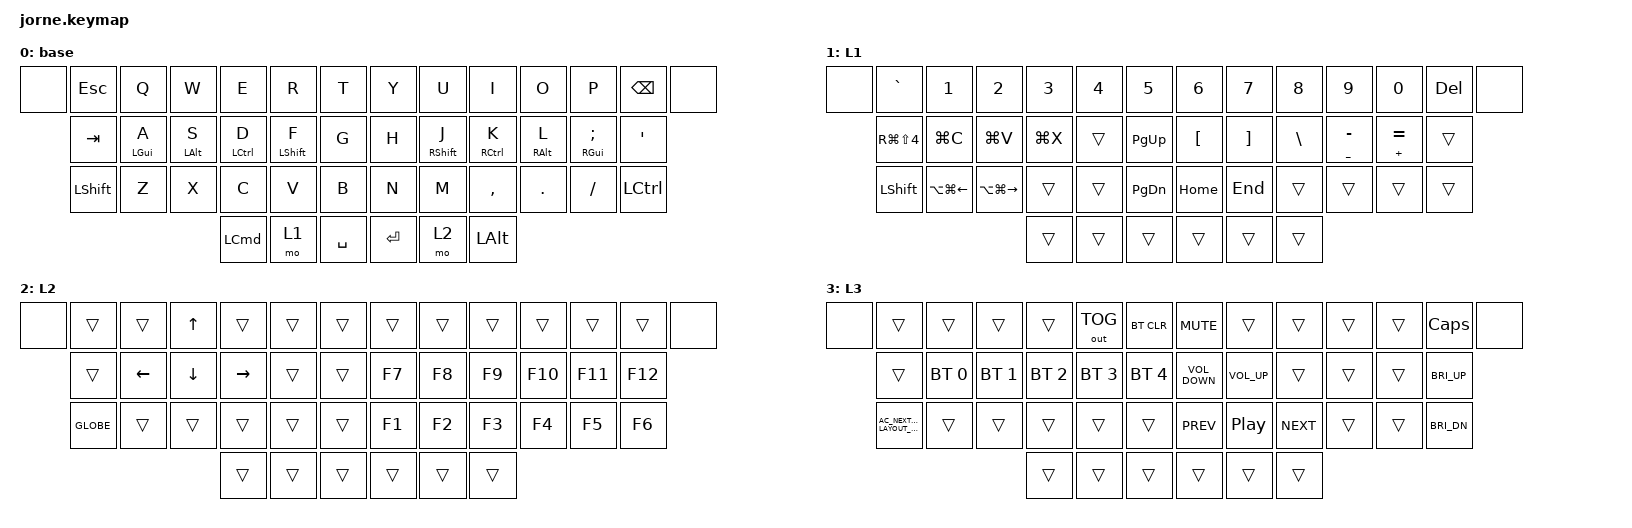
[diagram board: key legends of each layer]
/*
 * Copyright (c) 2020 The ZMK Contributors
 *
 * SPDX-License-Identifier: MIT
 */

#include <behaviors.dtsi>
#include <dt-bindings/zmk/bt.h>
#include <dt-bindings/zmk/keys.h>
#include <dt-bindings/zmk/outputs.h>

/ {
    combos {
        compatible = "zmk,combos";

        combo_game {
            bindings = <&tog 0>;
            key-positions = <38 43>;
            timeout-ms = <200>;
        };

        game_esc {
            bindings = <&kp ESC>;
            key-positions = <2 3>;
        };
    };

    behaviors {
        hml: hml {
            compatible = "zmk,behavior-hold-tap";
            label = "HML";
            bindings = <&kp>, <&kp>;

            #binding-cells = <2>;
            tapping-term-ms = <220>;
            quick-tap-ms = <175>;
            flavor = "balanced";
            require-prior-idle-ms = <100>;
            hold-trigger-key-positions = <7 8 9 10 11 12 13 20 21 22 23 24 25 32 33 34 35 36 37 38 39 40 41 42 43>;
            hold-trigger-on-release;
        };

        hmr: hmr {
            compatible = "zmk,behavior-hold-tap";
            label = "HMR";
            bindings = <&kp>, <&kp>;

            #binding-cells = <2>;
            tapping-term-ms = <220>;
            quick-tap-ms = <175>;
            require-prior-idle-ms = <100>;
            flavor = "balanced";
            hold-trigger-key-positions = <0 1 2 3 4 5 6 14 15 16 17 18 19 26 27 28 29 30 31 38 39 40 41 42 43>;
            hold-trigger-on-release;
        };

        tkl: tkl {
            compatible = "zmk,behavior-hold-tap";
            label = "TKL";
            bindings = <&mo>, <&kp>;

            #binding-cells = <2>;
            tapping-term-ms = <220>;
            quick-tap-ms = <175>;
            flavor = "balanced";
            require-prior-idle-ms = <100>;
            hold-trigger-key-positions = <7 8 9 10 11 12 13 20 21 22 23 24 25 32 33 34 35 36 37 38 39 40 41 42 43>;
            hold-trigger-on-release;
        };

        tkr: tkr {
            compatible = "zmk,behavior-hold-tap";
            label = "TKR";
            bindings = <&mo>, <&kp>;

            #binding-cells = <2>;
            tapping-term-ms = <220>;
            quick-tap-ms = <175>;
            require-prior-idle-ms = <100>;
            flavor = "balanced";
            hold-trigger-key-positions = <0 1 2 3 4 5 6 14 15 16 17 18 19 26 27 28 29 30 31 38 39 40 41 42 43>;
            hold-trigger-on-release;
        };
    };

    keymap {
        compatible = "zmk,keymap";

        base {
            // Jorne: 44 keys (positions 0 and 13 are extra outer keys, not present physically)
            // -----------------------------------------------------------------------------------------
            // | x |  ESC |  Q  |  W  |  E  |  R  |  T  |   |  Y  |  U   |  I  |  O  |  P  | BKSP | x |
            //     | TAB  |  A  |  S  |  D  |  F  |  G  |   |  H  |  J   |  K  |  L  |  '  |  '   |
            //     | SHFT |  Z  |  X  |  C  |  V  |  B  |   |  N  |  M   |  ,  |  .  |  /  | SHFT |
            //                        | GUI | LWR | SPC |   | ENT | RSE  | ALT |

            bindings = <
&none  &kp ESC         &kp Q            &kp W            &kp E                &kp R              &kp T        &kp Y      &kp U               &kp I                 &kp O             &kp P                     &kp BACKSPACE     &none
       &kp TAB         &hml LEFT_GUI A  &hml LEFT_ALT S  &hml LEFT_CONTROL D  &hml LEFT_SHIFT F  &kp G        &kp H      &hmr RIGHT_SHIFT J  &hmr RIGHT_CONTROL K  &hmr RIGHT_ALT L  &hmr RIGHT_GUI SEMICOLON  &kp SINGLE_QUOTE
       &kp LEFT_SHIFT  &kp Z            &kp X            &kp C                &kp V              &kp B        &kp N      &kp M               &kp COMMA             &kp DOT           &kp FSLH                  &kp LEFT_CONTROL
                                                         &kp LEFT_COMMAND     &mo 1              &kp SPACE    &kp ENTER  &mo 2               &kp LEFT_ALT
            >;
        };

        L1 {
            bindings = <
&none  &kp GRAVE       &kp NUMBER_1            &kp NUMBER_2       &kp NUMBER_3  &kp NUMBER_4  &kp N5           &kp NUMBER_6      &kp N7             &kp N8         &kp N9                &kp N0          &kp DEL  &none
       &kp RG(LS(N4))  &kp LG(C)               &kp LG(V)          &kp LG(X)     &trans        &kp PAGE_UP      &kp LEFT_BRACKET  &kp RIGHT_BRACKET  &kp BACKSLASH  &mt UNDERSCORE MINUS  &mt PLUS EQUAL  &trans
       &kp LEFT_SHIFT  &kp LA(LG(LEFT_ARROW))  &kp LA(LG(RIGHT))  &trans        &trans        &kp PAGE_DOWN    &kp HOME          &kp END            &trans         &trans                &trans          &trans
                                                                  &trans        &trans        &trans           &trans            &trans             &trans
            >;
        };

        L2 {
            bindings = <
&none  &trans     &trans          &kp UP_ARROW    &trans           &trans  &trans    &trans  &trans  &trans  &trans   &trans   &trans   &none
       &trans     &kp LEFT_ARROW  &kp DOWN_ARROW  &kp RIGHT_ARROW  &trans  &trans    &kp F7  &kp F8  &kp F9  &kp F10  &kp F11  &kp F12
       &kp GLOBE  &trans          &trans          &trans           &trans  &trans    &kp F1  &kp F2  &kp F3  &kp F4   &kp F5   &kp F6
                                                  &trans           &trans  &trans    &trans  &trans  &trans
            >;
        };

        L3 {
            bindings = <
&none  &trans                                &trans        &trans        &trans        &out OUT_TOG  &bt BT_CLR      &kp K_MUTE         &trans           &trans      &trans  &trans  &kp CAPSLOCK  &none
       &trans                                &bt BT_SEL 0  &bt BT_SEL 1  &bt BT_SEL 2  &bt BT_SEL 3  &bt BT_SEL 4    &kp C_VOLUME_DOWN  &kp C_VOLUME_UP  &trans      &trans  &trans  &kp C_BRI_UP
       &kp C_AC_NEXT_KEYBOARD_LAYOUT_SELECT  &trans        &trans        &trans        &trans        &trans          &kp C_PREV         &kp C_PP         &kp C_NEXT  &trans  &trans  &kp C_BRI_DN
                                                                         &trans        &trans        &trans          &trans             &trans           &trans
            >;
        };
    };

    conditional_layers {
        compatible = "zmk,conditional-layers";

        layer3 {
            if-layers = <1 2>;
            then-layer = <3>;
        };
    };
};
